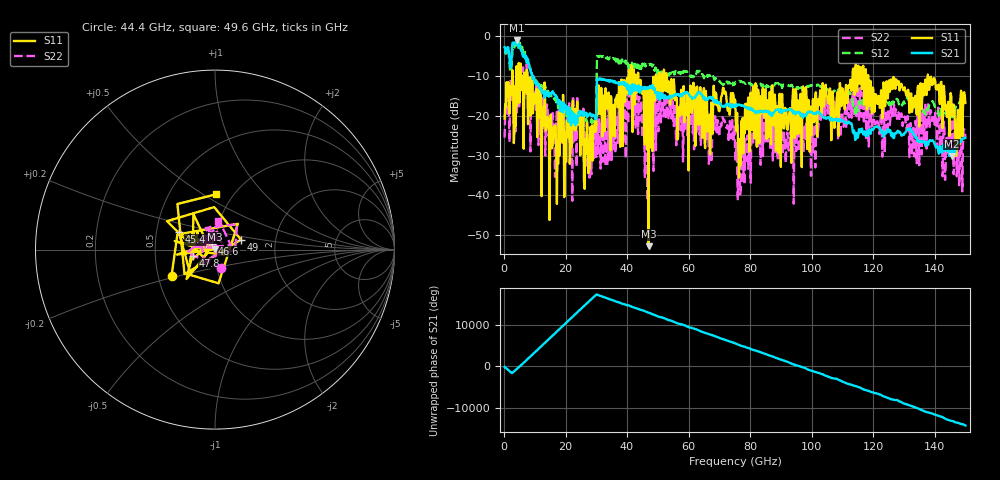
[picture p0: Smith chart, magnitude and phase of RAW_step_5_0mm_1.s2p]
!  2-Port S-parameters saved by WinCal
! VAR MeasName=S-Parameters (CALIBRATED_DATA) read from VNA (MS4647B)
! VAR MeasDate=27-Apr-22 17:16:32
! VAR NAME=RAW_stepline_5mm_1
! VAR FILENAME=RAW_stepline_5mm_1.S2P
! VAR DATE=27-Apr-22 17:16:32
! VAR PHYS_PORTS=1,2
! VAR ObjTypeName=DATASET
! VAR IndexType=Frequency
! VAR ChuckHeaterState=Unknown
! VAR ChuckTemp=NaN
! VAR ChuckTempUnits=Unknown
# Hz S RI R 50
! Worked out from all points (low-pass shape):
!   750 points, 200 MHz to 150 GHz, reference 50 ohm
!   highest |S21| = -1.03 dB at 4.2 GHz (marker M1); lowest = -30.1 dB at 145.6 GHz (marker M2)
!   |S21| within 3 dB of the highest: 676.2 MHz to 1.616 GHz (939.7 MHz wide, 82 % of centre); 2.538 GHz to 5.882 GHz (3.343 GHz wide, 79.4 % of centre)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
!   lowest |S11| = -52.7 dB at 47 GHz (marker M3), VSWR 1.00, Z = 50 + j0.23 ohm
!   |S11| at or under -10 dB: 7.606 GHz to 40.52 GHz (32.91 GHz wide, 137 % of centre); 52.9 GHz to 113.3 GHz (60.43 GHz wide, 72.7 % of centre); 118.4 GHz to 137.8 GHz (19.35 GHz wide, 15.1 % of centre)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
!   |S22| runs from -42.1 to -7.0 dB; largest |S21 - S12| = 1.7
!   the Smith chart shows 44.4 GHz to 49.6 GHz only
!   S11 on the Smith chart (normalised r, x): 44.4 GHz: 0.59, -0.19; 45.4 GHz: 0.65, +0.14; 46.6 GHz: 0.96, +0.07; 47.8 GHz: 0.78, -0.05; 49 GHz: 1.33, +0.15; 49.6 GHz: 0.83, +0.57
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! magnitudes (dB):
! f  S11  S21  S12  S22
! 200 MHz  -20.7  -2.7  -2.6  -25.5
! 4.2 GHz  -17.3  -1.0  -1.5  -19.1
! 17.6 GHz  -32.0  -17.0  -18.1  -19.7
! 25.2 GHz  -20.9  -19.2  -20.9  -23.1
! 29.4 GHz  -23.9  -19.9  -21.5  -26.4
! 30.8 GHz  -12.3  -11.0  -5.1  -20.5
! 44.4 GHz  -10.9  -13.3  -7.6  -19.4
! 45.4 GHz  -13.0  -13.0  -7.4  -19.9
! 46.6 GHz  -28.5  -12.7  -7.0  -41.4
! 47 GHz  -52.7  -13.0  -7.1  -24.8
! 47.8 GHz  -17.9  -13.0  -7.1  -22.4
! 49 GHz  -16.2  -13.4  -8.6  -14.5
! 49.6 GHz  -10.2  -14.1  -9.8  -15.8
! 50.2 GHz  -12.0  -14.1  -9.2  -23.9
! 75.2 GHz  -16.2  -17.7  -11.5  -31.3
! 76.8 GHz  -32.5  -17.2  -11.4  -39.7
! 81.4 GHz  -25.6  -18.7  -12.4  -21.6
! 100.2 GHz  -20.3  -19.2  -12.5  -23.9
! 104.6 GHz  -12.2  -20.7  -13.2  -17.7
! 125.2 GHz  -11.1  -24.1  -17.3  -19.3
! 145.6 GHz  -19.2  -30.1  -20.9  -23.3
! 150 GHz  -16.7  -25.5  -16.4  -25.3
